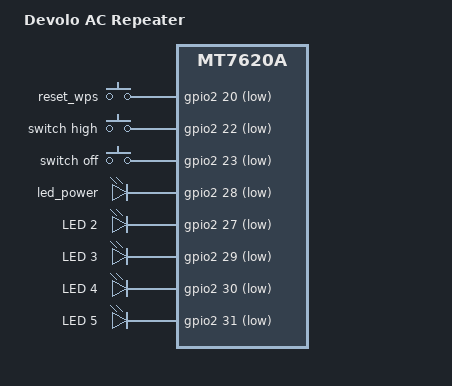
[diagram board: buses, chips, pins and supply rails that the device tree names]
/* This file is released into the public domain */

#include "mt7620a_devolo_acr.dtsi"

/ {
	compatible = "devolo,acr", "ralink,mt7620a-soc";
	model = "Devolo AC Repeater";

  aliases {
    led-boot = &led_power;
    led-failsafe = &led_power;
    led-running = &led_power;
    led-upgrade = &led_power;
  };

  keys {
    compatible = "gpio-keys";

    reset_wps {
      label = "reset_wps";
      gpios = <&gpio2 20 GPIO_ACTIVE_LOW>;
      linux,code = <KEY_RESTART>;
    };

    switch_high {
      label = "switch high";
      gpios = <&gpio2 22 GPIO_ACTIVE_LOW>;
      linux,code = <BTN_0>;
      linux,input-type = <EV_SW>;
    };

    switch_off {
      label = "switch off";
      gpios = <&gpio2 23 GPIO_ACTIVE_LOW>;
      linux,code = <BTN_1>;
      linux,input-type = <EV_SW>;
    };
  };

  leds {

    compatible = "gpio-leds";

    led_power: power {
      label = "led_power";
      gpios = <&gpio2 28 GPIO_ACTIVE_LOW>;
    };

    led2 {
      label = "LED 2";
      gpios = <&gpio2 27 GPIO_ACTIVE_LOW>;
      linux,default-trigger = "phy0radio";
    };

    led3 {
      label = "LED 3";
      gpios = <&gpio2 29 GPIO_ACTIVE_LOW>;
      linux,default-trigger = "phy0radio";
    };

    led4 {
      label = "LED 4";
      gpios = <&gpio2 30 GPIO_ACTIVE_LOW>;
      linux,default-trigger = "phy1radio";
    };

    led5 {
      label = "LED 5";
      gpios = <&gpio2 31 GPIO_ACTIVE_LOW>;
      linux,default-trigger = "phy1radio";
    };
  };
};

